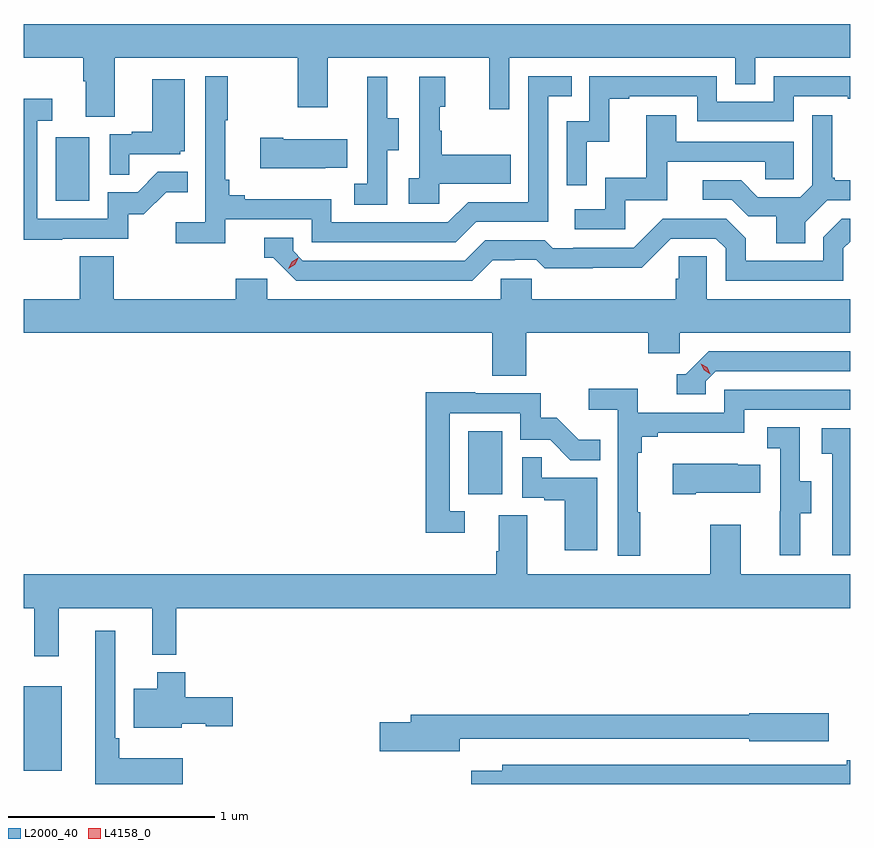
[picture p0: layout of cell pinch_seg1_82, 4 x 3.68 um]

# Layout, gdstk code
import gdstk
lib = gdstk.Library(unit=1e-6, precision=1e-09)
def R(c, l, rs):  # rectangles x0, y0, x1, y1
    for r in rs: c.add(gdstk.rectangle(r[:2], r[2:], *l))
def P(c, l, *ps):  # polygons
    for p in ps: c.add(gdstk.Polygon(p, *l))
L2000_40 = (2000, 40)
L4158_0 = (4158, 0)

pinch_seg1_82 = lib.new_cell('pinch_seg1_82')
R(pinch_seg1_82, L2000_40, [(1043.843,573.587,1044.025,573.997), (1045.994,574.926,1046.158,575.233), (1043.996,576.348,1044.16,576.655)])
P(pinch_seg1_82, L2000_40, [(1044.283,577.04),(1045.168,577.04),(1045.168,576.801),(1045.315,576.801),(1045.315,577.04),(1046.096,577.04),(1046.096,576.792),(1046.193,576.792),(1046.193,577.04),(1047.288,577.04),(1047.288,576.913),(1047.384,576.913),(1047.384,577.04),(1047.843,577.04),(1047.843,577.204),(1043.843,577.204),(1043.843,577.04),(1044.131,577.04),(1044.131,576.928),(1044.143,576.928),(1044.143,576.754),(1044.283,576.754)],
  [(1044.818,576.258),(1045.236,576.258),(1045.236,576.147),(1045.933,576.147),(1046.032,576.246),(1046.382,576.246),(1046.382,576.855),(1046.495,576.855),(1046.495,576.951),(1046.286,576.951),(1046.286,576.342),(1045.995,576.342),(1045.896,576.243),(1045.332,576.243),(1045.332,576.355),(1044.913,576.355),(1044.913,576.374),(1044.836,576.374),(1044.836,576.451),(1044.817,576.451),(1044.817,576.739),(1044.829,576.739),(1044.829,576.952),(1044.72,576.952),(1044.72,576.244),(1044.579,576.244),(1044.579,576.142),(1044.818,576.142)],
  [(1046.568,576.635),(1046.678,576.635),(1046.678,576.843),(1046.773,576.843),(1046.773,576.855),(1047.102,576.855),(1047.102,576.732),(1047.57,576.732),(1047.57,576.855),(1047.833,576.855),(1047.833,576.843),(1047.843,576.843),(1047.843,576.951),(1047.474,576.951),(1047.474,576.828),(1047.198,576.828),(1047.198,576.951),(1046.58,576.951),(1046.58,576.732),(1046.472,576.732),(1046.472,576.423),(1046.568,576.423)],
  [(1045.854,576.431),(1046.201,576.431),(1046.201,576.571),(1045.867,576.571),(1045.867,576.686),(1045.857,576.686),(1045.857,576.804),(1045.882,576.804),(1045.882,576.949),(1045.758,576.949),(1045.758,576.458),(1045.707,576.458),(1045.707,576.333),(1045.854,576.333)],
  [(1045.602,576.592),(1045.657,576.592),(1045.657,576.747),(1045.603,576.747),(1045.603,576.949),(1045.505,576.949),(1045.505,576.735),(1045.506,576.735),(1045.506,576.431),(1045.443,576.431),(1045.443,576.328),(1045.602,576.328)],
  [(1044.353,576.573),(1044.6,576.573),(1044.6,576.588),(1044.622,576.588),(1044.622,576.937),(1044.464,576.937),(1044.464,576.682),(1044.365,576.682),(1044.365,576.669),(1044.258,576.669),(1044.258,576.475),(1044.353,576.475)],
  [(1044.029,576.165),(1044.348,576.165),(1044.348,576.282),(1044.424,576.282),(1044.531,576.389),(1044.635,576.389),(1044.635,576.488),(1044.491,576.488),(1044.393,576.39),(1044.249,576.39),(1044.249,576.261),(1043.907,576.261),(1043.907,576.735),(1043.98,576.735),(1043.98,576.841),(1043.843,576.841),(1043.843,576.16),(1044.029,576.16)],
  [(1046.754,576.351),(1046.959,576.351),(1046.959,576.537),(1047.433,576.537),(1047.433,576.453),(1047.57,576.453),(1047.57,576.633),(1047.001,576.633),(1047.001,576.763),(1046.857,576.763),(1046.857,576.46),(1046.658,576.46),(1046.658,576.306),(1046.511,576.306),(1046.511,576.21),(1046.754,576.21)],
  [(1047.625,576.244),(1047.732,576.351),(1047.843,576.351),(1047.843,576.448),(1047.769,576.448),(1047.769,576.46),(1047.757,576.46),(1047.757,576.763),(1047.66,576.763),(1047.66,576.423),(1047.603,576.366),(1047.397,576.366),(1047.316,576.447),(1047.129,576.447),(1047.129,576.354),(1047.27,576.354),(1047.35,576.274),(1047.485,576.274),(1047.485,576.142),(1047.625,576.142)],
  [(1045.301,576.509),(1045.409,576.509),(1045.409,576.646),(1045.099,576.646),(1045.099,576.654),(1044.987,576.654),(1044.987,576.506),(1045.301,576.506)],
  [(1046.113,576.06),(1046.22,576.06),(1046.22,576.063),(1046.323,576.063),(1046.365,576.021),(1046.598,576.021),(1046.598,576.023),(1046.834,576.023),(1046.976,576.165),(1047.192,576.165),(1047.24,576.117),(1047.24,575.961),(1047.81,575.961),(1047.81,576.117),(1047.843,576.15),(1047.843,576.261),(1047.804,576.261),(1047.714,576.171),(1047.714,576.057),(1047.337,576.057),(1047.337,576.167),(1047.243,576.261),(1046.937,576.261),(1046.796,576.12),(1046.503,576.12),(1046.503,576.117),(1046.404,576.117),(1046.365,576.156),(1046.076,576.156),(1045.977,576.057),(1045.194,576.057),(1045.146,576.105),(1045.146,576.168),(1045.007,576.168),(1045.007,576.072),(1045.05,576.072),(1045.161,575.961),(1046.014,575.961)],
  [(1046.276,575.708),(1046.867,575.708),(1046.867,575.61),(1047.018,575.61),(1047.018,575.708),(1047.843,575.708),(1047.843,575.872),(1047.15,575.872),(1047.15,576.08),(1047.013,576.08),(1047.013,575.97),(1046.999,575.97),(1046.999,575.872),(1046.301,575.872),(1046.301,575.97),(1046.151,575.97),(1046.151,575.872),(1045.02,575.872),(1045.02,575.97),(1044.869,575.97),(1044.869,575.872),(1044.278,575.872),(1044.278,576.08),(1044.113,576.08),(1044.113,575.872),(1043.843,575.872),(1043.843,575.708),(1046.111,575.708),(1046.111,575.5),(1046.276,575.5)],
  [(1047.144,575.475),(1047.192,575.523),(1047.843,575.523),(1047.843,575.619),(1047.159,575.619),(1047.048,575.508),(1047.005,575.508),(1047.005,575.412),(1047.144,575.412)],
  [(1046.827,574.841),(1046.815,574.841),(1046.815,575.129),(1046.834,575.129),(1046.834,575.206),(1046.911,575.206),(1046.911,575.225),(1047.33,575.225),(1047.33,575.337),(1047.843,575.337),(1047.843,575.433),(1047.234,575.433),(1047.234,575.322),(1046.816,575.322),(1046.816,575.438),(1046.577,575.438),(1046.577,575.336),(1046.718,575.336),(1046.718,574.629),(1046.827,574.629)],
  [(1045.978,574.845),(1045.905,574.845),(1045.905,575.319),(1046.247,575.319),(1046.247,575.19),(1046.391,575.19),(1046.489,575.092),(1046.633,575.092),(1046.633,575.191),(1046.529,575.191),(1046.422,575.298),(1046.346,575.298),(1046.346,575.415),(1046.027,575.415),(1046.027,575.42),(1045.789,575.42),(1045.789,574.74),(1045.978,574.74)],
  [(1047.601,574.834),(1047.655,574.834),(1047.655,574.989),(1047.6,574.989),(1047.6,575.252),(1047.441,575.252),(1047.441,575.149),(1047.504,575.149),(1047.504,574.845),(1047.503,574.845),(1047.503,574.632),(1047.601,574.632)],
  [(1047.843,575.247),(1047.705,575.247),(1047.705,575.123),(1047.756,575.123),(1047.756,574.632),(1047.843,574.632)],
  [(1046.62,575.007),(1046.351,575.007),(1046.351,575.105),(1046.256,575.105),(1046.256,574.911),(1046.363,574.911),(1046.363,574.899),(1046.462,574.899),(1046.462,574.656),(1046.62,574.656)],
  [(1047.097,574.934),(1047.407,574.934),(1047.407,575.071),(1047.299,575.071),(1047.299,575.074),(1046.985,575.074),(1046.985,574.927),(1047.097,574.927)],
  [(1047.843,574.54),(1047.313,574.54),(1047.313,574.78),(1047.166,574.78),(1047.166,574.54),(1046.281,574.54),(1046.281,574.826),(1046.141,574.826),(1046.141,574.652),(1046.129,574.652),(1046.129,574.54),(1043.843,574.54),(1043.843,574.376),(1043.893,574.376),(1043.893,574.143),(1044.011,574.143),(1044.011,574.376),(1044.464,574.376),(1044.464,574.151),(1044.581,574.151),(1044.581,574.376),(1047.843,574.376)],
  [(1044.613,573.649),(1044.305,573.649),(1044.305,573.745),(1044.285,573.745),(1044.285,574.267),(1044.188,574.267),(1044.188,573.524),(1044.613,573.524)],
  [(1044.606,573.815),(1044.723,573.815),(1044.723,573.803),(1044.853,573.803),(1044.853,573.945),(1044.623,573.945),(1044.623,574.066),(1044.488,574.066),(1044.488,573.985),(1044.374,573.985),(1044.374,573.797),(1044.606,573.797)],
  [(1045.954,573.744),(1047.354,573.744),(1047.354,573.731),(1047.739,573.731),(1047.739,573.866),(1047.354,573.866),(1047.354,573.86),(1045.715,573.86),(1045.715,573.824),(1045.566,573.824),(1045.566,573.682),(1045.954,573.682)],
  [(1047.843,573.638),(1047.826,573.638),(1047.826,573.618),(1046.159,573.618),(1046.159,573.589),(1046.01,573.589),(1046.01,573.524),(1047.843,573.524)])
P(pinch_seg1_82, L4158_0, [(1047.167,575.508),(1047.136,575.528),(1047.12,575.56),(1047.12,575.56),(1047.12,575.56),(1047.151,575.541),(1047.167,575.509),(1047.167,575.508)],
  [(1045.122,576.019),(1045.122,576.019),(1045.139,576.052),(1045.17,576.071),(1045.17,576.071),(1045.17,576.07),(1045.154,576.038),(1045.123,576.019)])

lib.write_gds('pinch_seg1_82.gds')
